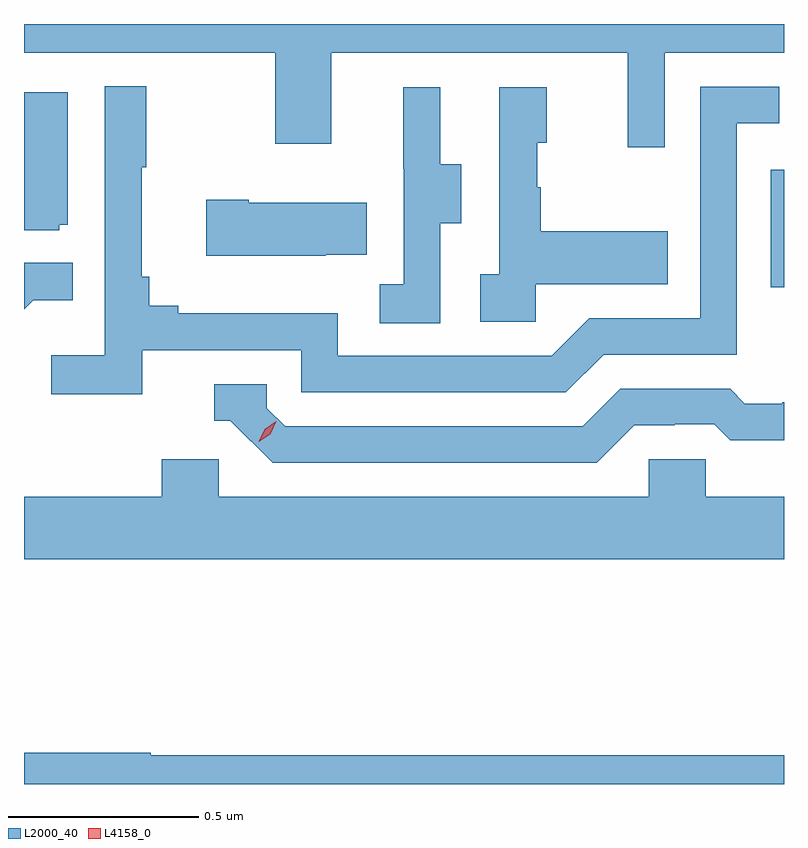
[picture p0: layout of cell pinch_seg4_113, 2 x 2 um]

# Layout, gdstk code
import gdstk
lib = gdstk.Library(unit=1e-6, precision=1e-09)
def R(c, l, rs):  # rectangles x0, y0, x1, y1
    for r in rs: c.add(gdstk.rectangle(r[:2], r[2:], *l))
def P(c, l, *ps):  # polygons
    for p in ps: c.add(gdstk.Polygon(p, *l))
L2000_40 = (2000, 40)
L4158_0 = (4158, 0)

pinch_seg4_113 = lib.new_cell('pinch_seg4_113')
R(pinch_seg4_113, L2000_40, [(1060.902,797.535,1060.937,797.844)])
P(pinch_seg4_113, L2000_40, [(1060.623,798.152),(1060.937,798.152),(1060.937,798.228),(1058.937,798.228),(1058.937,798.152),(1059.598,798.152),(1059.598,797.913),(1059.745,797.913),(1059.745,798.152),(1060.526,798.152),(1060.526,797.904),(1060.623,797.904)],
  [(1059.248,797.37),(1059.666,797.37),(1059.666,797.259),(1060.363,797.259),(1060.462,797.358),(1060.812,797.358),(1060.812,797.967),(1060.925,797.967),(1060.925,798.063),(1060.716,798.063),(1060.716,797.454),(1060.425,797.454),(1060.326,797.355),(1059.762,797.355),(1059.762,797.467),(1059.343,797.467),(1059.343,797.486),(1059.266,797.486),(1059.266,797.563),(1059.247,797.563),(1059.247,797.851),(1059.259,797.851),(1059.259,798.064),(1059.15,798.064),(1059.15,797.356),(1059.009,797.356),(1059.009,797.254),(1059.248,797.254)],
  [(1060.284,797.543),(1060.631,797.543),(1060.631,797.683),(1060.297,797.683),(1060.297,797.798),(1060.287,797.798),(1060.287,797.916),(1060.312,797.916),(1060.312,798.061),(1060.188,798.061),(1060.188,797.57),(1060.137,797.57),(1060.137,797.445),(1060.284,797.445)],
  [(1060.032,797.704),(1060.087,797.704),(1060.087,797.859),(1060.033,797.859),(1060.033,798.061),(1059.935,798.061),(1059.935,797.847),(1059.936,797.847),(1059.936,797.543),(1059.873,797.543),(1059.873,797.44),(1060.032,797.44)],
  [(1059.03,797.7),(1059.052,797.7),(1059.052,798.049),(1058.937,798.049),(1058.937,797.685),(1059.03,797.685)],
  [(1059.731,797.621),(1059.839,797.621),(1059.839,797.758),(1059.529,797.758),(1059.529,797.766),(1059.417,797.766),(1059.417,797.618),(1059.731,797.618)],
  [(1058.961,797.501),(1059.065,797.501),(1059.065,797.6),(1058.937,797.6),(1058.937,797.477)],
  [(1060.543,797.172),(1060.65,797.172),(1060.65,797.175),(1060.753,797.175),(1060.795,797.133),(1060.937,797.133),(1060.937,797.232),(1060.933,797.232),(1060.933,797.229),(1060.834,797.229),(1060.795,797.268),(1060.506,797.268),(1060.407,797.169),(1059.624,797.169),(1059.576,797.217),(1059.576,797.28),(1059.437,797.28),(1059.437,797.184),(1059.48,797.184),(1059.591,797.073),(1060.444,797.073)],
  [(1060.937,796.984),(1060.731,796.984),(1060.731,797.082),(1060.581,797.082),(1060.581,796.984),(1059.45,796.984),(1059.45,797.082),(1059.299,797.082),(1059.299,796.984),(1058.937,796.984),(1058.937,796.82),(1060.937,796.82)],
  [(1060.937,796.304),(1059.27,796.304),(1059.27,796.31),(1058.937,796.31),(1058.937,796.228),(1060.937,796.228)])
P(pinch_seg4_113, L4158_0, [(1059.555,797.129),(1059.555,797.129),(1059.57,797.162),(1059.601,797.182),(1059.601,797.182),(1059.601,797.182),(1059.585,797.149),(1059.555,797.129)])

lib.write_gds('pinch_seg4_113.gds')
